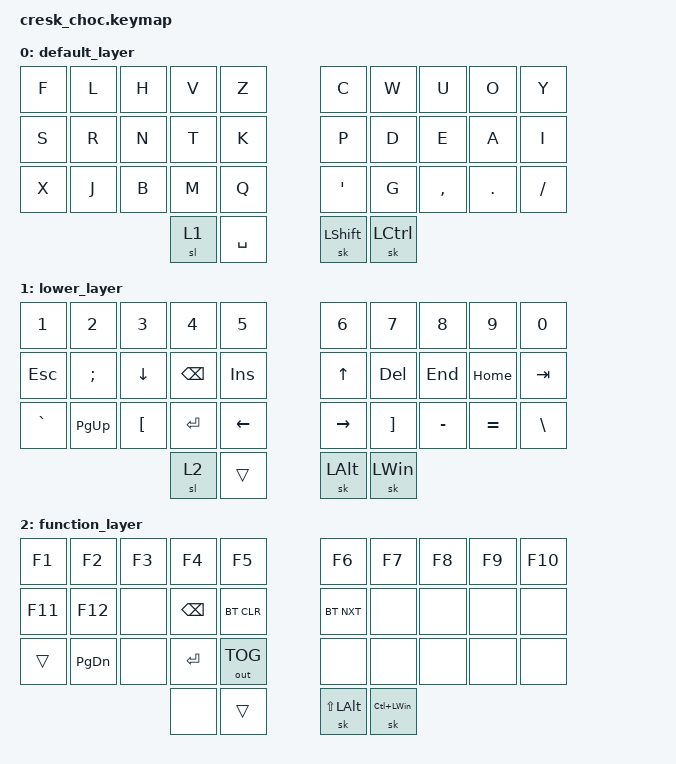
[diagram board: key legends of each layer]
/*
 * Copyright (c) 2022 The ZMK Contributors
 *
 * SPDX-License-Identifier: MIT
 */

#include <behaviors.dtsi>
#include <dt-bindings/zmk/keys.h>
#include <dt-bindings/zmk/bt.h>
#include <dt-bindings/zmk/outputs.h>

&sk {
	release-after-ms = <200>;
	quick-release;
};

&sl {
	release-after-ms = <200>;
};

/ {
	keymap {
		compatible = "zmk,keymap";

		default_layer {
			bindings = <
&kp F &kp L &kp H &kp V &kp Z &kp C &kp W &kp U &kp O &kp Y
&kp S &kp R &kp N &kp T &kp K &kp P &kp D &kp E &kp A &kp I
&kp X &kp J &kp B &kp M &kp Q &kp SQT &kp G &kp COMMA &kp DOT &kp FSLH
&sl 1 &kp SPACE &sk LSHIFT &sk LCTRL
			>;
		}
;
		lower_layer {
			bindings = <
&kp N1       &kp N2    &kp N3    &kp N4       &kp N5   &kp N6    &kp N7   &kp N8    &kp N9    &kp N0
&kp ESC      &kp SEMI   &kp DOWN  &kp BSPC     &kp INS &kp UP &kp DEL  &kp END   &kp HOME  &kp TAB
&kp GRAVE    &kp PG_UP &kp LBKT  &kp RET      &kp LEFT  &kp RIGHT    &kp RBKT &kp MINUS &kp EQUAL &kp BSLH
&sl 2      &trans &sk LALT &sk LWIN
			>;
		};

		function_layer {
			bindings = <
&kp F1       &kp F2    &kp F3    &kp F4       &kp F5   &kp F6    &kp F7   &kp F8    &kp F9    &kp F10
&kp F11      &kp F12    &none   &kp BSPC &bt BT_CLR    &bt BT_NXT     &none    &none     &none     &none
&trans    &kp PG_DN &none     &kp RET   &out OUT_TOG    &none     &none    &none     &none     &none
&none     &trans     &sk LS(LALT) &sk LC(LWIN)
			>;
		};
	};
};
